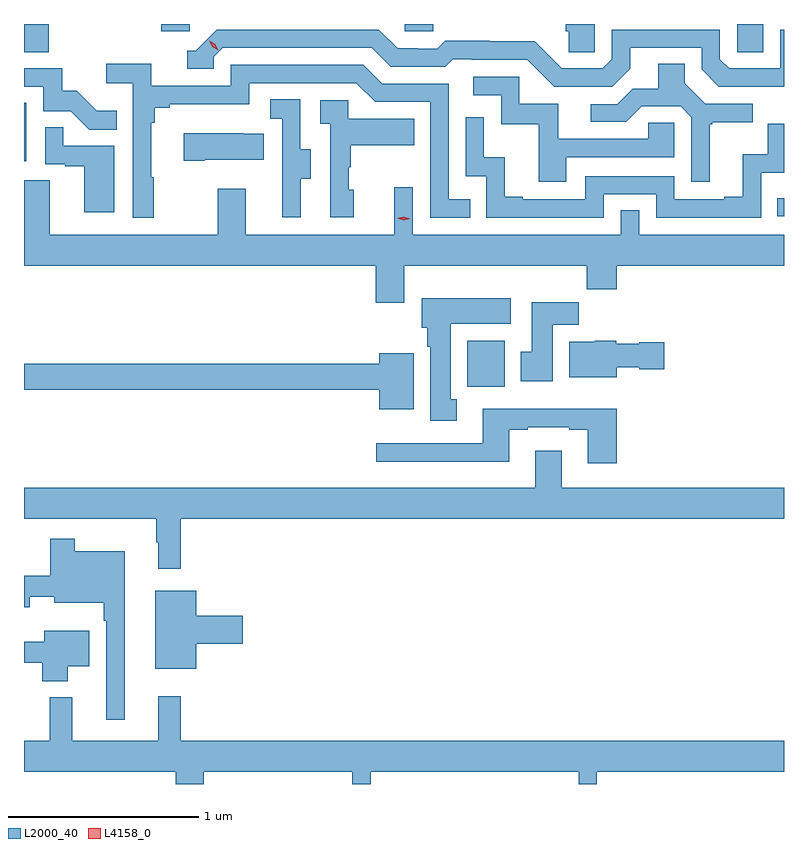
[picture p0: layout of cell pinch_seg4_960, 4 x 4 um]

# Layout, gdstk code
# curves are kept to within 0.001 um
import gdstk
lib = gdstk.Library(unit=1e-6, precision=1e-09)
def R(c, l, rs):  # rectangles x0, y0, x1, y1
    for r in rs: c.add(gdstk.rectangle(r[:2], r[2:], *l))
def P(c, l, *ps):  # polygons
    for p in ps: c.add(gdstk.Polygon(p, *l))
L2000_40 = (2000, 40)
L4158_0 = (4158, 0)

pinch_seg4_960 = lib.new_cell('pinch_seg4_960')
R(pinch_seg4_960, L2000_40, [(878.87,786.86,879.067,787.102), (880.501,787.755,880.537,787.852), (876.537,788.046,876.55,788.353), (876.537,788.62,876.668,788.768), (880.29,788.62,880.429,788.768), (877.259,788.73,877.41,788.768), (878.541,788.73,878.691,788.768)])
P(pinch_seg4_960, L2000_40, [(879.54,788.768),(879.389,788.768),(879.389,788.73),(879.403,788.73),(879.403,788.62),(879.54,788.62)],
  [(880.537,788.739),(880.518,788.739),(880.518,788.535),(880.248,788.535),(880.2,788.583),(880.2,788.739),(879.63,788.739),(879.63,788.583),(879.582,788.535),(879.366,788.535),(879.224,788.677),(878.988,788.677),(878.988,788.68),(878.755,788.68),(878.713,788.637),(878.61,788.637),(878.61,788.64),(878.503,788.64),(878.404,788.739),(877.551,788.739),(877.44,788.628),(877.397,788.628),(877.397,788.532),(877.536,788.532),(877.536,788.595),(877.584,788.643),(878.367,788.643),(878.466,788.544),(878.755,788.544),(878.794,788.583),(878.893,788.583),(878.893,788.58),(879.186,788.58),(879.327,788.439),(879.633,788.439),(879.727,788.533),(879.727,788.643),(880.104,788.643),(880.104,788.529),(880.194,788.439),(880.537,788.438)],
  [(877.219,787.961),(877.207,787.961),(877.207,788.249),(877.226,788.249),(877.226,788.326),(877.303,788.326),(877.303,788.345),(877.722,788.345),(877.722,788.457),(878.286,788.457),(878.385,788.358),(878.676,788.358),(878.676,787.749),(878.885,787.749),(878.885,787.845),(878.772,787.845),(878.772,788.454),(878.422,788.454),(878.323,788.553),(877.626,788.553),(877.626,788.442),(877.208,788.442),(877.208,788.558),(876.969,788.558),(876.969,788.456),(877.11,788.456),(877.11,787.749),(877.219,787.749)],
  [(880.147,788.241),(880.159,788.241),(880.159,788.252),(880.372,788.252),(880.372,788.349),(880.122,788.349),(880.015,788.456),(880.015,788.558),(879.875,788.558),(879.875,788.426),(879.74,788.426),(879.66,788.346),(879.519,788.346),(879.519,788.253),(879.706,788.253),(879.787,788.334),(879.993,788.334),(880.05,788.277),(880.05,787.938),(880.147,787.938)],
  [(877.025,788.311),(876.921,788.311),(876.814,788.418),(876.738,788.418),(876.738,788.535),(876.537,788.535),(876.537,788.439),(876.639,788.439),(876.639,788.31),(876.783,788.31),(876.881,788.212),(877.025,788.212)],
  [(879.391,788.067),(879.96,788.067),(879.96,788.247),(879.823,788.247),(879.823,788.163),(879.349,788.163),(879.349,788.349),(879.144,788.349),(879.144,788.49),(878.901,788.49),(878.901,788.394),(879.048,788.394),(879.048,788.241),(879.247,788.241),(879.247,787.938),(879.391,787.938)],
  [(877.993,787.954),(878.047,787.954),(878.047,788.109),(877.992,788.109),(877.992,788.372),(877.833,788.372),(877.833,788.269),(877.896,788.269),(877.896,787.965),(877.895,787.965),(877.895,787.752),(877.993,787.752)],
  [(878.272,787.896),(878.247,787.896),(878.247,788.015),(878.257,788.015),(878.257,788.129),(878.591,788.129),(878.591,788.269),(878.244,788.269),(878.244,788.367),(878.097,788.367),(878.097,788.243),(878.148,788.243),(878.148,787.752),(878.272,787.752)],
  [(879.588,787.872),(879.864,787.872),(879.864,787.749),(880.416,787.749),(880.416,787.985),(880.537,787.985),(880.537,788.244),(880.452,788.244),(880.452,788.083),(880.319,788.083),(880.319,787.858),(880.223,787.858),(880.223,787.845),(879.96,787.845),(879.96,787.968),(879.492,787.968),(879.492,787.845),(879.163,787.845),(879.163,787.858),(879.068,787.858),(879.068,788.066),(878.958,788.066),(878.958,788.278),(878.862,788.278),(878.862,787.968),(878.97,787.968),(878.97,787.749),(879.588,787.749)],
  [(877.012,788.127),(876.743,788.127),(876.743,788.225),(876.648,788.225),(876.648,788.031),(876.755,788.031),(876.755,788.019),(876.854,788.019),(876.854,787.776),(877.012,787.776)],
  [(877.489,788.054),(877.799,788.054),(877.799,788.191),(877.691,788.191),(877.691,788.194),(877.377,788.194),(877.377,788.047),(877.489,788.047)],
  [(879.499,787.372),(879.656,787.372),(879.656,787.496),(880.537,787.496),(880.537,787.66),(879.774,787.66),(879.774,787.787),(879.678,787.787),(879.678,787.66),(878.583,787.66),(878.583,787.909),(878.486,787.909),(878.486,787.66),(877.705,787.66),(877.705,787.9),(877.558,787.9),(877.558,787.66),(876.673,787.66),(876.673,787.946),(876.537,787.946),(876.537,787.496),(878.387,787.496),(878.387,787.302),(878.539,787.302),(878.539,787.496),(879.499,787.496)],
  [(878.815,786.794),(878.782,786.794),(878.782,787.19),(879.1,787.19),(879.1,787.324),(878.63,787.324),(878.63,787.17),(878.66,787.17),(878.66,787.07),(878.675,787.07),(878.675,786.681),(878.815,786.681)],
  [(879.319,787.184),(879.458,787.184),(879.458,787.303),(879.209,787.303),(879.209,787.044),(879.152,787.044),(879.152,786.888),(879.319,786.888)],
  [(879.658,786.962),(879.774,786.962),(879.774,786.95),(879.907,786.95),(879.907,787.092),(879.774,787.092),(879.774,787.084),(879.654,787.084),(879.654,787.102),(879.54,787.102),(879.54,787.096),(879.407,787.096),(879.407,786.908),(879.658,786.908)],
  [(878.587,787.036),(878.408,787.036),(878.408,786.98),(876.537,786.98),(876.537,786.844),(878.408,786.844),(878.408,786.74),(878.587,786.74)],
  [(879.656,786.742),(878.951,786.742),(878.951,786.561),(878.391,786.561),(878.391,786.464),(879.091,786.464),(879.091,786.633),(879.187,786.633),(879.187,786.645),(879.407,786.645),(879.407,786.633),(879.503,786.633),(879.503,786.456),(879.656,786.456)],
  [(877.361,786.164),(880.537,786.164),(880.537,786.328),(879.367,786.328),(879.367,786.523),(879.227,786.523),(879.227,786.328),(876.537,786.328),(876.537,786.164),(877.233,786.164),(877.233,786.041),(877.244,786.041),(877.244,785.901),(877.361,785.901)],
  [(877.066,785.992),(876.805,785.992),(876.805,786.058),(876.676,786.058),(876.676,785.863),(876.537,785.863),(876.537,785.699),(876.568,785.699),(876.568,785.753),(876.695,785.753),(876.695,785.723),(876.957,785.723),(876.957,785.627),(876.969,785.627),(876.969,785.106),(877.066,785.106)],
  [(877.444,785.507),(877.687,785.507),(877.687,785.654),(877.444,785.654),(877.444,785.785),(877.229,785.785),(877.229,785.375),(877.444,785.375)],
  [(876.766,785.387),(876.88,785.387),(876.88,785.575),(876.644,785.575),(876.644,785.516),(876.537,785.516),(876.537,785.406),(876.632,785.406),(876.632,785.309),(876.766,785.309)],
  [(877.483,784.832),(878.264,784.832),(878.264,784.768),(878.361,784.768),(878.361,784.832),(879.456,784.832),(879.456,784.768),(879.552,784.768),(879.552,784.832),(880.537,784.832),(880.537,784.996),(877.361,784.996),(877.361,785.23),(877.244,785.23),(877.244,784.996),(876.791,784.996),(876.791,785.224),(876.673,785.224),(876.673,784.996),(876.537,784.996),(876.537,784.832),(877.336,784.832),(877.336,784.768),(877.483,784.768)])
P(pinch_seg4_960, L4158_0, [(878.536,787.734),(878.501,787.745),(878.5,787.745),(878.501,787.745),(878.536,787.754),(878.571,787.743),(878.571,787.743),(878.571,787.743)],
  [(877.56,788.629),(877.529,788.648),(877.512,788.68),(877.512,788.68),(877.512,788.68),(877.543,788.661),(877.56,788.629),(877.56,788.629)])

lib.write_gds('pinch_seg4_960.gds')
